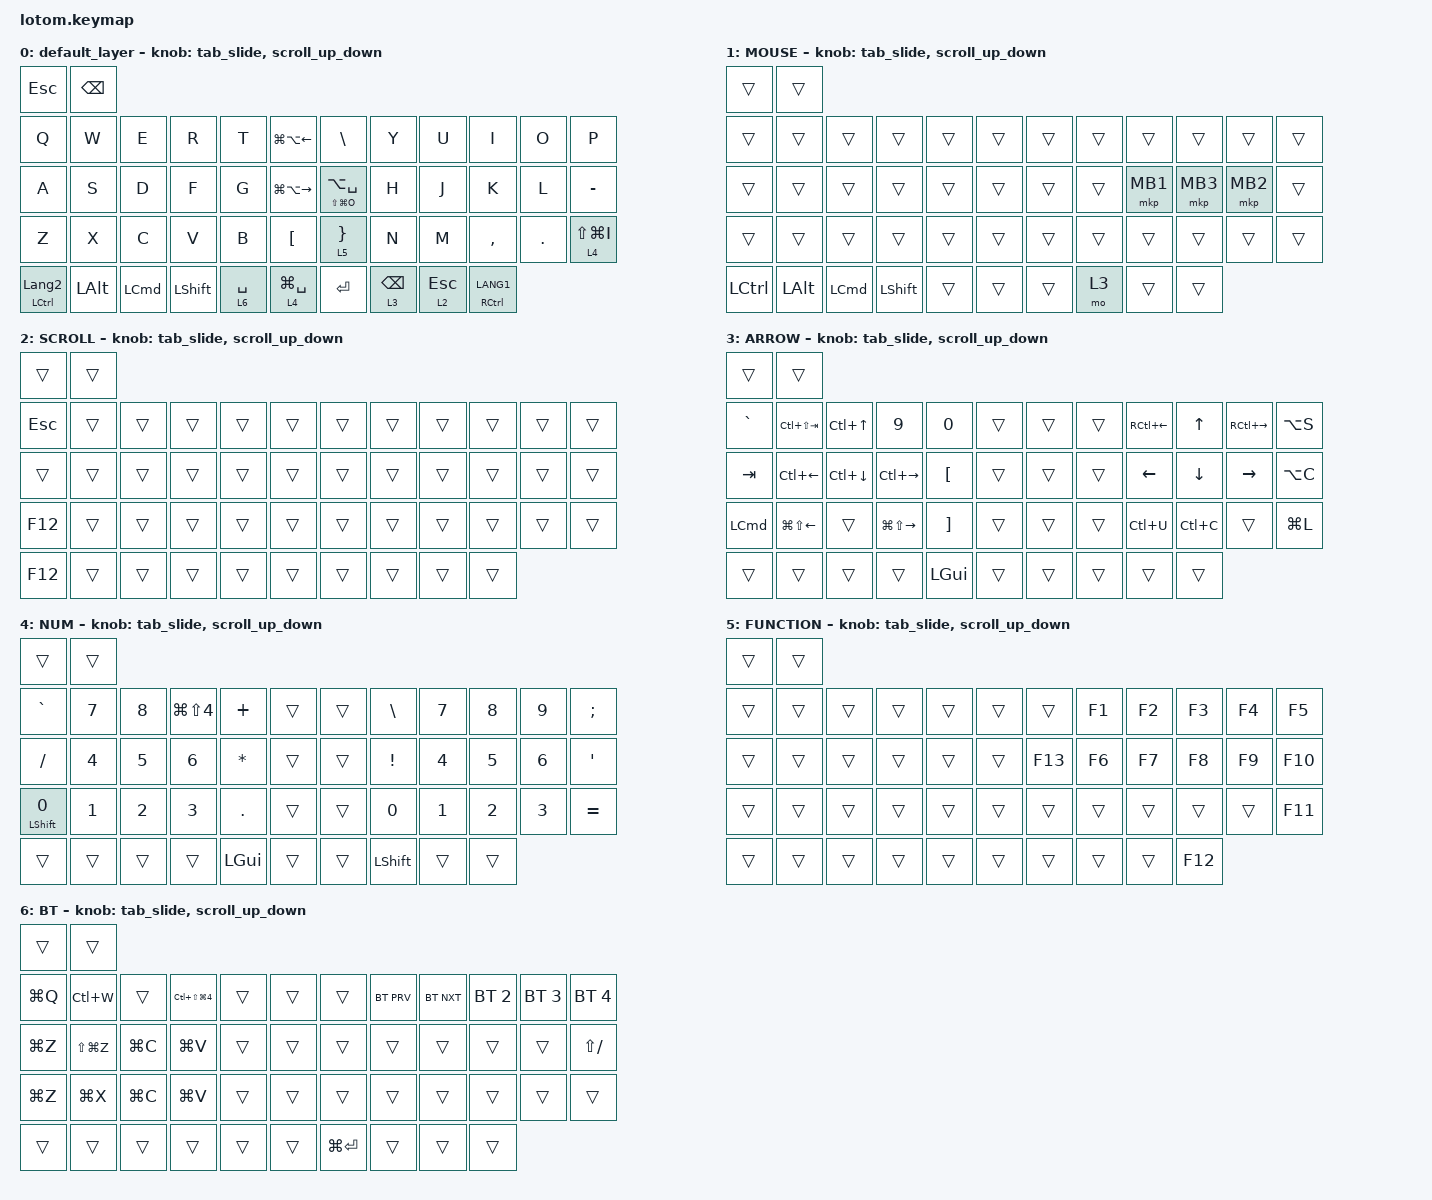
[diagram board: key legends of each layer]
#include <behaviors.dtsi>
#include <dt-bindings/zmk/bt.h>
#include <dt-bindings/zmk/keys.h>
#include <dt-bindings/zmk/pointing.h>

#define ZMK_POINTING_DEFAULT_SCRL_VAL 480

/ {
    behaviors {
        scroll_up_down: behavior_sensor_rotate_mouse_wheel_up_down {
            compatible = "zmk,behavior-sensor-rotate";
            label = "ENCODER_MSC_DOWN_UP";
            #sensor-binding-cells = <0>;
            bindings = <&msc SCRL_DOWN>, <&msc SCRL_UP>;

            tap-ms = <20>;
        };

        tab_slide: behavior_sensor_rotate_tab_slide {
            compatible = "zmk,behavior-sensor-rotate";
            label = "ENCODER_TAB_SLIDE";
            #sensor-binding-cells = <0>;
            bindings = <&kp LA(LG(RIGHT_ARROW))>, <&kp LA(LG(LEFT_ARROW))>;

            tap-ms = <40>;
        };
    };

    keymap {
        compatible = "zmk,keymap";

        default_layer {
            bindings = <
&kp ESCAPE            &kp BACKSPACE
&kp Q                 &kp W          &kp E             &kp R           &kp T        &kp LG(LA(LEFT_ARROW))   &kp BACKSLASH            &kp Y            &kp U         &kp I                    &kp O    &kp P
&kp A                 &kp S          &kp D             &kp F           &kp G        &kp LG(LA(RIGHT_ARROW))  &mt LS(LG(O)) LA(SPACE)  &kp H            &kp J         &kp K                    &kp L    &kp MINUS
&kp Z                 &kp X          &kp C             &kp V           &kp B        &kp LEFT_BRACKET         &lt 5 RIGHT_BRACE        &kp N            &kp M         &kp COMMA                &kp DOT  &lt 4 LS(LG(I))
&mt LCTRL LANGUAGE_2  &kp LEFT_ALT   &kp LEFT_COMMAND  &kp LEFT_SHIFT  &lt 6 SPACE  &lt 4 LG(SPACE)          &kp ENTER                &lt 3 BACKSPACE  &lt 2 ESCAPE  &mt RIGHT_CONTROL LANG1
            >;

            sensor-bindings = <
                &tab_slide
                &scroll_up_down
            >;
        };

        MOUSE {
            bindings = <
&trans     &trans
&trans     &trans        &trans            &trans          &trans  &trans  &trans  &trans  &trans    &trans    &trans    &trans
&trans     &trans        &trans            &trans          &trans  &trans  &trans  &trans  &mkp MB1  &mkp MB3  &mkp MB2  &trans
&trans     &trans        &trans            &trans          &trans  &trans  &trans  &trans  &trans    &trans    &trans    &trans
&kp LCTRL  &kp LEFT_ALT  &kp LEFT_COMMAND  &kp LEFT_SHIFT  &trans  &trans  &trans  &mo 3   &trans    &trans
            >;

            sensor-bindings = <
                &tab_slide
                &scroll_up_down
            >;
        };

        SCROLL {
            bindings = <
&trans      &trans
&kp ESCAPE  &trans  &trans  &trans  &trans  &trans  &trans  &trans  &trans  &trans  &trans  &trans
&trans      &trans  &trans  &trans  &trans  &trans  &trans  &trans  &trans  &trans  &trans  &trans
&kp F12     &trans  &trans  &trans  &trans  &trans  &trans  &trans  &trans  &trans  &trans  &trans
&kp F12     &trans  &trans  &trans  &trans  &trans  &trans  &trans  &trans  &trans
            >;

            sensor-bindings = <
                &tab_slide
                &scroll_up_down
            >;
        };

        ARROW {
            bindings = <
&trans     &trans
&kp GRAVE  &kp LC(LS(TAB))         &kp LC(UP_ARROW)    &kp NUMBER_9             &kp NUMBER_0       &trans  &trans  &trans  &kp RC(LEFT_ARROW)  &kp UP_ARROW    &kp RC(RIGHT_ARROW)  &kp LA(S)
&kp TAB    &kp LC(LEFT_ARROW)      &kp LC(DOWN_ARROW)  &kp LC(RIGHT_ARROW)      &kp LEFT_BRACKET   &trans  &trans  &trans  &kp LEFT_ARROW      &kp DOWN_ARROW  &kp RIGHT_ARROW      &kp LA(C)
&kp LCMD   &kp LG(LS(LEFT_ARROW))  &trans              &kp LG(LS(RIGHT_ARROW))  &kp RIGHT_BRACKET  &trans  &trans  &trans  &kp LC(U)           &kp LC(C)       &trans               &kp LG(L)
&trans     &trans                  &trans              &trans                   &kp LEFT_GUI       &trans  &trans  &trans  &trans              &trans
            >;

            sensor-bindings = <
                &tab_slide
                &scroll_up_down
            >;
        };

        NUM {
            bindings = <
&trans                   &trans
&kp GRAVE                &kp NUMBER_7  &kp NUMBER_8  &kp LG(LS(NUMBER_4))  &kp PLUS      &trans  &trans  &kp BACKSLASH    &kp NUMBER_7  &kp NUMBER_8  &kp NUMBER_9  &kp SEMICOLON
&kp SLASH                &kp NUMBER_4  &kp NUMBER_5  &kp NUMBER_6          &kp ASTERISK  &trans  &trans  &kp EXCLAMATION  &kp NUMBER_4  &kp NUMBER_5  &kp NUMBER_6  &kp SQT
&mt LEFT_SHIFT NUMBER_0  &kp NUMBER_1  &kp NUMBER_2  &kp NUMBER_3          &kp PERIOD    &trans  &trans  &kp NUMBER_0     &kp NUMBER_1  &kp NUMBER_2  &kp NUMBER_3  &kp EQUAL
&trans                   &trans        &trans        &trans                &kp LEFT_GUI  &trans  &trans  &kp LEFT_SHIFT   &trans        &trans
            >;

            sensor-bindings = <
                &tab_slide
                &scroll_up_down
            >;
        };

        FUNCTION {
            bindings = <
&trans  &trans
&trans  &trans  &trans  &trans  &trans  &trans  &trans   &kp F1  &kp F2  &kp F3   &kp F4  &kp F5
&trans  &trans  &trans  &trans  &trans  &trans  &kp F13  &kp F6  &kp F7  &kp F8   &kp F9  &kp F10
&trans  &trans  &trans  &trans  &trans  &trans  &trans   &trans  &trans  &trans   &trans  &kp F11
&trans  &trans  &trans  &trans  &trans  &trans  &trans   &trans  &trans  &kp F12
            >;

            sensor-bindings = <
                &tab_slide
                &scroll_up_down
            >;
        };

        BT {
            bindings = <
&trans     &trans
&kp LG(Q)  &kp LC(W)      &trans     &kp LC(LS(LG(NUMBER_4)))  &trans  &trans  &trans       &bt BT_PRV  &bt BT_NXT  &bt BT_SEL 2  &bt BT_SEL 3  &bt BT_SEL 4
&kp LG(Z)  &kp LS(LG(Z))  &kp LG(C)  &kp LG(V)                 &trans  &trans  &trans       &trans      &trans      &trans        &trans        &kp LS(SLASH)
&kp LG(Z)  &kp LG(X)      &kp LG(C)  &kp LG(V)                 &trans  &trans  &trans       &trans      &trans      &trans        &trans        &trans
&trans     &trans         &trans     &trans                    &trans  &trans  &kp LG(RET)  &trans      &trans      &trans
            >;

            sensor-bindings = <
                &tab_slide
                &scroll_up_down
            >;
        };
    };
};
